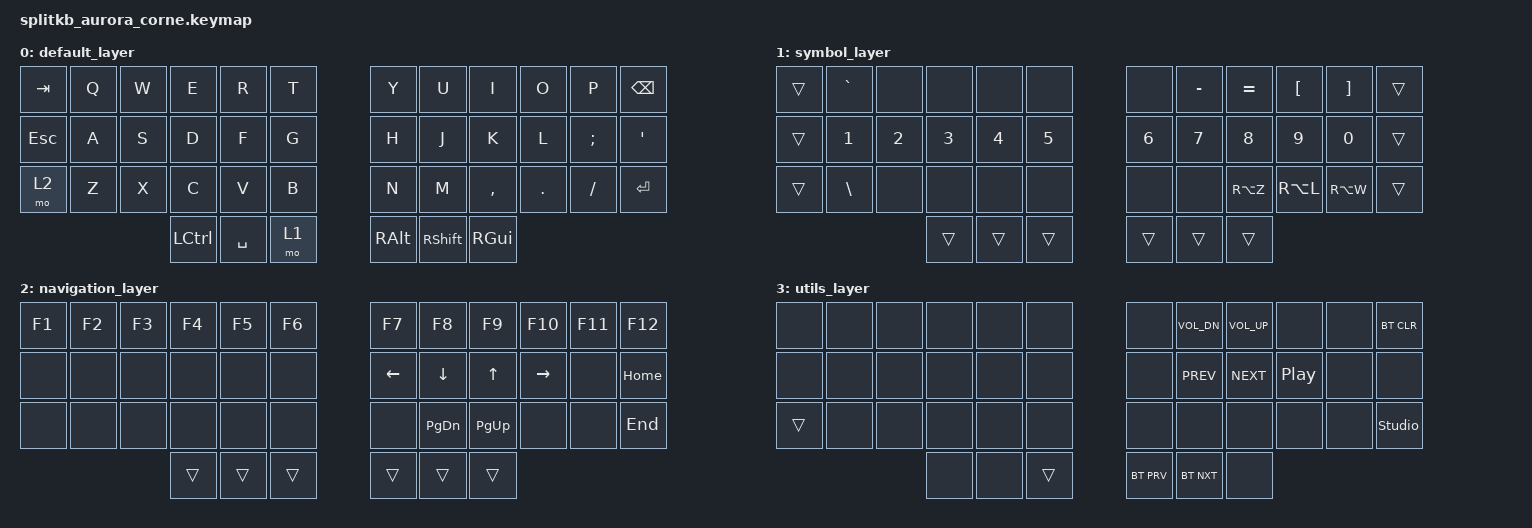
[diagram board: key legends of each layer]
/*
 * Copyright (c) 2020 The ZMK Contributors
 *
 * SPDX-License-Identifier: MIT
 */

#include <behaviors.dtsi>
#include <dt-bindings/zmk/bt.h>
#include <dt-bindings/zmk/keys.h>

/ {
    keymap {
        compatible = "zmk,keymap";

        default_layer {
            // -----------------------------------------------------------------------------------------
            // |  TAB |  Q  |  W  |  E  |  R  |  T  |   |  Y  |  U   |  I  |  O  |  P  | BSPC |
            // | ESC |  A  |  S  |  D  |  F  |  G  |   |  H  |  J   |  K  |  L  |  ;  |  '   |
            // | LNAV |  Z  |  X  |  C  |  V  |  B  |   |  N  |  M   |  ,  |  .  |  /  | ENT  |
            //                    | ALT | SPC | LSYM |   | GUI | SHFT  | CTRL |

            bindings = <
&kp TAB  &kp Q  &kp W  &kp E      &kp R      &kp T    &kp Y     &kp U      &kp I      &kp O    &kp P     &kp BSPC
&kp ESC  &kp A  &kp S  &kp D      &kp F      &kp G    &kp H     &kp J      &kp K      &kp L    &kp SEMI  &kp SQT
&mo 2    &kp Z  &kp X  &kp C      &kp V      &kp B    &kp N     &kp M      &kp COMMA  &kp DOT  &kp FSLH  &kp RET
                       &kp LCTRL  &kp SPACE  &mo 1    &kp RALT  &kp RSHFT  &kp RGUI
            >;
        };

        symbol_layer {
            // -----------------------------------------------------------------------------------------
            // | TAB | ~  |    |    |    |    |   |    |  -  |  =  |  [  |  ]  |  BSPC  |
            // | ESC | 1 | 2 | 3 | 4 | 5 |   |  6  |  7  |  8  |  9  |  0  |  '  |
            // | LNAV | \ |    |    |    |    |   |    |    |  ,  |  .  |  /  |  ENT  |
            //                    | ALT | SPC | LSYM |   | GUI | SHFT | CTRL |

            bindings = <
&trans  &kp GRAVE  &none   &none   &none   &none     &none   &kp MINUS  &kp EQUAL  &kp LBKT   &kp RBKT   &trans
&trans  &kp N1     &kp N2  &kp N3  &kp N4  &kp N5    &kp N6  &kp N7     &kp N8     &kp N9     &kp N0     &trans
&trans  &kp BSLH   &none   &none   &none   &none     &none   &none      &kp RA(Z)  &kp RA(L)  &kp RA(W)  &trans
                           &trans  &trans  &trans    &trans  &trans     &trans
            >;
        };

        navigation_layer {
            // -----------------------------------------------------------------------------------------
            // |  |   |   |   |   |   |   |   |    |    |    |  PgUp  | HOME |
            // |  |   |  F5   |  F6  |  F7  |   F8  |   |  LEFT  |  DOWN  |  UP  |  RIGHT  |   |    |
            // |  |   |  F9   |  F10  |  F11  |  F12  |   |  PgDn  |  F1  |  F2  |  F3  |  F4  |  End  |
            //                    | ALT |  SPC  |  LSYM  |  |  GUI  |  SHFT  |  CTRL  |

            bindings = <
&kp F1  &kp F2  &kp F3  &kp F4  &kp F5  &kp F6    &kp F7    &kp F8         &kp F9       &kp F10    &kp F11  &kp F12
&none   &none   &none   &none   &none   &none     &kp LEFT  &kp DOWN       &kp UP       &kp RIGHT  &none    &kp HOME
&none   &none   &none   &none   &none   &none     &none     &kp PAGE_DOWN  &kp PAGE_UP  &none      &none    &kp END
                        &trans  &trans  &trans    &trans    &trans         &trans
            >;
        };

        utils_layer {
            // -----------------------------------------------------------------------------------------
            // |  |   |  |  |  |  |   |   | VOL - | VOL + |    | | BT CLR |
            // |  |   |  |  |  |  |   |  |  PREV  | NEXT |  PLAY  |   |    |
            // |  |   |  |  |  |  |   |  |  |  |    |   |    |
            //                    | |  |  |  | BT PROF - | BT PROF + |  |

            bindings = <
&none   &none  &none  &none  &none  &none     &none       &kp C_VOL_DN  &kp C_VOL_UP  &none     &none  &bt BT_CLR
&none   &none  &none  &none  &none  &none     &none       &kp C_PREV    &kp C_NEXT    &kp C_PP  &none  &none
&trans  &none  &none  &none  &none  &none     &none       &none         &none         &none     &none  &studio_unlock
                      &none  &none  &trans    &bt BT_PRV  &bt BT_NXT    &none
            >;
        };
    };
};

/ {
    conditional_layers {
        compatible = "zmk,conditional-layers";

        tri_layer {
            if-layers = <1 2>;
            then-layer = <3>;
        };
    };
};
